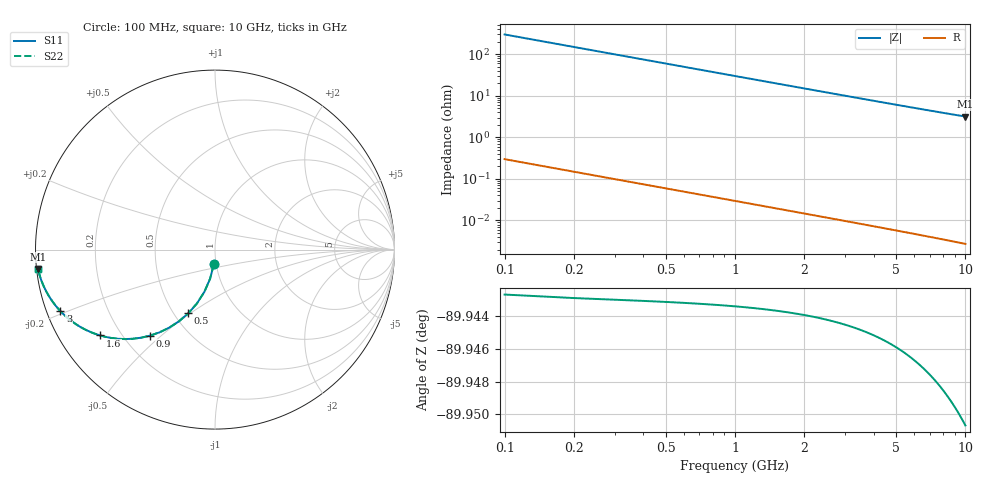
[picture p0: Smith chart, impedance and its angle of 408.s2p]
# Hz S RI R 50.00
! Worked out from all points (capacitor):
!   100 points, 100 MHz to 10 GHz, reference 50 ohm
!   read as one part in shunt: C = 5.33 pF near 100 MHz
!   lowest |Z| = 3.17 ohm at 10 GHz (marker M1)
!   S11 on the Smith chart (normalised r, x): 100 MHz: 0.97, -0.16; 500 MHz: 0.59, -0.49; 900 MHz: 0.31, -0.46; 1.6 GHz: 0.12, -0.33; 3 GHz: 0.04, -0.19; 10 GHz: 0.00, -0.05
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1e8  -0.00702 -0.083  0.993 -0.0831  0.993 -0.0831  -0.00702 -0.083
2e8  -0.0274 -0.1626  0.9726 -0.1629  0.9726 -0.1629  -0.0274 -0.1626
3e8  -0.0594 -0.2357  0.9405 -0.2362  0.9405 -0.2362  -0.0594 -0.2357
4e8  -0.1009 -0.3004  0.8991 -0.301  0.8991 -0.301  -0.1009 -0.3004
5e8  -0.1491 -0.3553  0.8509 -0.3561  0.8509 -0.3561  -0.1491 -0.3553
6e8  -0.2013 -0.4  0.7986 -0.401  0.7986 -0.401  -0.2013 -0.4
7e8  -0.2553 -0.435  0.7446 -0.4361  0.7446 -0.4361  -0.2553 -0.435
9e8  -0.3615 -0.4792  0.6385 -0.4806  0.6385 -0.4806  -0.3615 -0.4792
1.2e9  -0.5012 -0.4986  0.4987 -0.5004  0.4987 -0.5004  -0.5012 -0.4986
1.4e9  -0.5775 -0.4924  0.4225 -0.4946  0.4225 -0.4946  -0.5775 -0.4924
1.6e9  -0.6407 -0.478  0.3593 -0.4805  0.3593 -0.4805  -0.6407 -0.478
1.8e9  -0.6928 -0.4594  0.3072 -0.4622  0.3072 -0.4622  -0.6928 -0.4594
2e9  -0.7356 -0.4389  0.2644 -0.4421  0.2644 -0.4421  -0.7356 -0.4389
2.3e9  -0.7861 -0.4077  0.2139 -0.4114  0.2139 -0.4114  -0.7861 -0.4077
2.6e9  -0.8243 -0.378  0.1757 -0.3821  0.1757 -0.3821  -0.8243 -0.378
3e9  -0.8618 -0.3422  0.1381 -0.3469  0.1381 -0.3469  -0.8618 -0.3422
3.4e9  -0.8889 -0.311  0.111 -0.3164  0.111 -0.3164  -0.8889 -0.311
4.2e9  -0.9242 -0.2607  0.0757 -0.2674  0.0757 -0.2674  -0.9242 -0.2607
5.1e9  -0.9473 -0.2187  0.0526 -0.2269  0.0526 -0.2269  -0.9473 -0.2187
6.7e9  -0.9688 -0.1677  0.0311 -0.1786  0.0311 -0.1786  -0.9688 -0.1677
8.4e9  -0.98 -0.1322  0.0198 -0.146  0.0198 -0.146  -0.98 -0.1322
1e10  -0.9859 -0.1086  0.0139 -0.1252  0.0139 -0.1252  -0.9859 -0.1086
